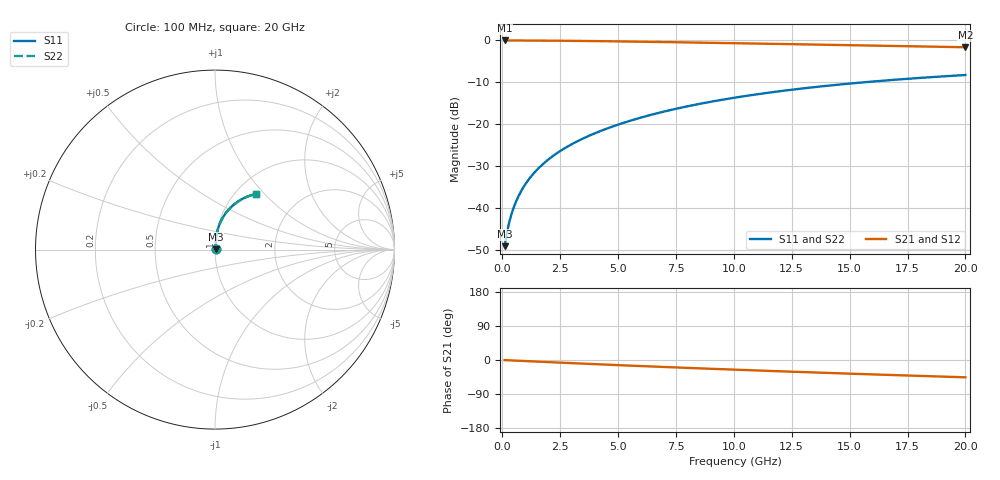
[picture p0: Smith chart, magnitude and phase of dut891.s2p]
! Touchstone file exported from HFSS 2024.1.0
!  File:  C:/UserFiles/LocalFiles/RDL_TSV_Batchsim/temp_RDL_top_891_1779857209.aedt
!  Generated:  12:48:58 PM May 27, 2026
!  Design:  RDL_top
!  Project:  temp_RDL_top_891_1779857209
!  Setup:  Setup1
!  Solution:  Sweep
! Variables:
!  dtsv = 10.80580581um
!  hbump = 3um
!  htsv = 88.42um
!  ldown = 100um
!  lrdl = 650.8um
!  p = 40
!  p1 = 53.16um
!  rhole = 1um
!  t = 450um
!  tdown = 3.915915916um
!  trdl = 3.7um
!  wdown = 15.38538539um
!  wrdl = 23.63um
# GHz S MA R 50.000000
! Terminal data exported
! Port[1] = Box2_T1
! Port[2] = Box2_T2
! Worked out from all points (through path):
!   200 points, 100 MHz to 20 GHz, reference 50 ohm
!   highest |S21| = -0.02 dB at 100 MHz (marker M1); lowest = -1.6 dB at 20 GHz (marker M2)
!   group delay of S21, straight-line fit = 6.29 ps
!   lowest |S11| = -49.0 dB at 100 MHz (marker M3), VSWR 1.01, Z = 50.3 + j0.213 ohm
!   |S11| at or under -10 dB: start of sweep to 15.59 GHz
!   |S22| runs from -49.0 to -8.3 dB; largest |S21 - S12| = 8.2e-15
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0.1  0.003541 36.6  0.9971 -0.3  0.9971 -0.3  0.003541 36.6
! Gamma 0 0 0 0
! Port Impedance 50 0 50 0
0.2  0.005107 54.0  0.997 -0.6  0.997 -0.6  0.005107 54.0
0.3  0.00683 62.4  0.9967 -0.9  0.9967 -0.9  0.00683 62.3
0.4  0.008582 67.4  0.9965 -1.1  0.9965 -1.1  0.008582 67.4
0.5  0.01035 70.8  0.9963 -1.4  0.9963 -1.4  0.01035 70.8
0.6  0.01214 73.3  0.9962 -1.7  0.9962 -1.7  0.01214 73.3
0.8  0.01576 76.8  0.9958 -2.3  0.9958 -2.3  0.01576 76.8
1.1  0.02129 79.8  0.9951 -3.1  0.9951 -3.1  0.02129 79.8
1.3  0.02502 81.1  0.9945 -3.7  0.9945 -3.7  0.02502 81.0
1.6  0.03069 82.3  0.9935 -4.5  0.9935 -4.5  0.03069 82.3
2.1  0.04028 83.5  0.9915 -5.9  0.9915 -5.9  0.04028 83.5
2.7  0.05202 84.1  0.9885 -7.5  0.9885 -7.5  0.05201 84.1
3.5  0.06805 84.1  0.9836 -9.7  0.9836 -9.7  0.06804 84.1
4.2  0.08242 83.7  0.9786 -11.5  0.9786 -11.5  0.08241 83.7
5  0.09921 83.0  0.9723 -13.6  0.9723 -13.6  0.09918 82.9
6.8  0.1379 80.3  0.9564 -18.0  0.9564 -18.0  0.1379 80.3
8.4  0.1727 77.3  0.9412 -21.8  0.9412 -21.8  0.1726 77.3
10.1  0.2091 73.9  0.9245 -25.7  0.9245 -25.7  0.209 73.8
11.7  0.2422 70.4  0.9087 -29.2  0.9087 -29.2  0.2421 70.4
13.4  0.2758 66.8  0.8919 -32.8  0.8919 -32.8  0.2757 66.8
16.7  0.3354 59.9  0.8595 -39.4  0.8595 -39.4  0.3352 59.9
20  0.3867 53.4  0.828 -45.7  0.828 -45.7  0.3865 53.4
